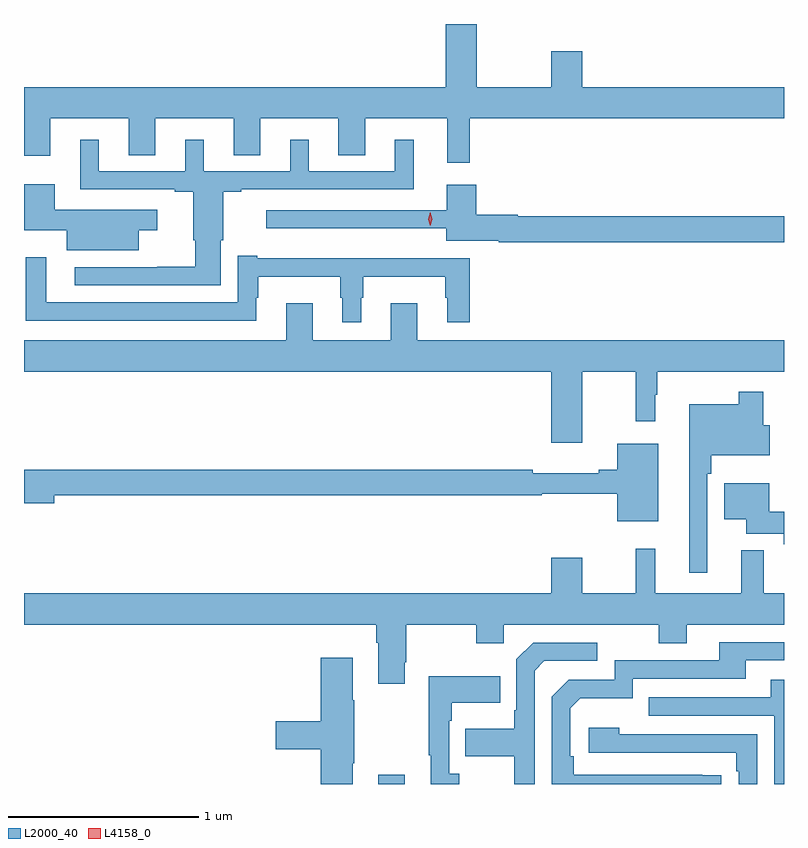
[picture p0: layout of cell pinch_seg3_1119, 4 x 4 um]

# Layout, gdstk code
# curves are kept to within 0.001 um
import gdstk
lib = gdstk.Library(unit=1e-6, precision=1e-09)
def R(c, l, rs):  # rectangles x0, y0, x1, y1
    for r in rs: c.add(gdstk.rectangle(r[:2], r[2:], *l))
def P(c, l, *ps):  # polygons
    for p in ps: c.add(gdstk.Polygon(p, *l))
L2000_40 = (2000, 40)
L4158_0 = (4158, 0)

pinch_seg3_1119 = lib.new_cell('pinch_seg3_1119')
R(pinch_seg3_1119, L2000_40, [(224.039,706.737,224.179,706.786)])
P(pinch_seg3_1119, L2000_40, [(224.519,710.24),(226.174,710.24),(226.174,710.404),(225.112,710.404),(225.112,710.593),(224.948,710.593),(224.948,710.404),(224.557,710.404),(224.557,710.737),(224.393,710.737),(224.393,710.404),(222.174,710.404),(222.174,710.043),(222.313,710.043),(222.313,710.24),(222.725,710.24),(222.725,710.047),(222.865,710.047),(222.865,710.24),(223.277,710.24),(223.277,710.047),(223.417,710.047),(223.417,710.24),(223.829,710.24),(223.829,710.047),(223.969,710.047),(223.969,710.24),(224.402,710.24),(224.402,710.007),(224.519,710.007)],
  [(223.21,709.599),(223.222,709.599),(223.222,709.854),(223.318,709.854),(223.318,709.866),(224.225,709.866),(224.225,710.128),(224.126,710.128),(224.126,709.962),(223.672,709.962),(223.672,710.128),(223.574,710.128),(223.574,709.962),(223.12,709.962),(223.12,710.128),(223.022,710.128),(223.022,709.962),(222.568,709.962),(222.568,710.128),(222.47,710.128),(222.47,709.866),(222.968,709.866),(222.968,709.854),(223.064,709.854),(223.064,709.599),(223.076,709.599),(223.076,709.46),(222.874,709.46),(222.874,709.458),(222.441,709.458),(222.441,709.362),(223.21,709.362)],
  [(222.778,709.652),(222.874,709.652),(222.874,709.759),(222.337,709.759),(222.337,709.894),(222.174,709.894),(222.174,709.652),(222.398,709.652),(222.398,709.547),(222.778,709.547)],
  [(226.174,709.724),(224.772,709.724),(224.772,709.732),(224.555,709.732),(224.555,709.891),(224.399,709.891),(224.399,709.758),(223.449,709.758),(223.449,709.661),(224.396,709.661),(224.396,709.595),(224.672,709.595),(224.672,709.588),(226.174,709.588)],
  [(223.948,709.295),(223.96,709.295),(223.96,709.406),(224.391,709.406),(224.391,709.295),(224.402,709.295),(224.402,709.167),(224.519,709.167),(224.519,709.504),(223.402,709.504),(223.402,709.516),(223.299,709.516),(223.299,709.272),(222.292,709.272),(222.292,709.51),(222.183,709.51),(222.183,709.176),(223.396,709.176),(223.396,709.295),(223.408,709.295),(223.408,709.406),(223.839,709.406),(223.839,709.295),(223.85,709.295),(223.85,709.167),(223.948,709.167)],
  [(224.948,708.534),(225.112,708.534),(225.112,708.908),(225.394,708.908),(225.394,708.645),(225.496,708.645),(225.496,708.785),(225.508,708.785),(225.508,708.908),(226.174,708.908),(226.174,709.072),(224.245,709.072),(224.245,709.267),(224.105,709.267),(224.105,709.072),(223.693,709.072),(223.693,709.267),(223.553,709.267),(223.553,709.072),(222.174,709.072),(222.174,708.908),(224.948,708.908)],
  [(225.771,708.371),(225.791,708.371),(225.791,708.467),(226.099,708.467),(226.099,708.625),(226.064,708.625),(226.064,708.802),(225.936,708.802),(225.936,708.736),(225.674,708.736),(225.674,707.85),(225.771,707.85)],
  [(225.511,708.529),(225.296,708.529),(225.296,708.392),(225.2,708.392),(225.2,708.373),(224.852,708.373),(224.852,708.392),(222.174,708.392),(222.174,708.214),(222.334,708.214),(222.334,708.256),(224.9,708.256),(224.9,708.264),(225.296,708.264),(225.296,708.119),(225.511,708.119)],
  [(226.174,708.171),(226.096,708.171),(226.096,708.319),(225.86,708.319),(225.86,708.131),(225.974,708.131),(225.974,708.053),(226.172,708.053),(226.172,707.999),(226.174,707.999)],
  [(224.179,707.377),(224.187,707.377),(224.187,707.576),(224.554,707.576),(224.554,707.477),(224.7,707.477),(224.7,707.576),(225.514,707.576),(225.514,707.477),(225.661,707.477),(225.661,707.576),(226.174,707.576),(226.174,707.74),(226.067,707.74),(226.067,707.968),(225.95,707.968),(225.95,707.74),(225.497,707.74),(225.497,707.974),(225.394,707.974),(225.394,707.74),(225.112,707.74),(225.112,707.929),(224.948,707.929),(224.948,707.74),(222.174,707.74),(222.174,707.576),(224.027,707.576),(224.027,707.48),(224.039,707.48),(224.039,707.265),(224.179,707.265)],
  [(225.845,706.784),(225.068,706.785),(225.068,706.882),(225.048,706.882),(225.048,707.136),(225.101,707.189),(225.378,707.189),(225.378,707.292),(225.973,707.292),(225.973,707.388),(226.174,707.388),(226.174,707.484),(225.833,707.484),(225.833,707.388),(225.282,707.388),(225.282,707.286),(225.042,707.286),(224.952,707.196),(224.952,706.737),(225.845,706.737)],
  [(224.862,707.334),(224.913,707.385),(225.19,707.385),(225.19,707.481),(224.853,707.481),(224.766,707.394),(224.766,707.125),(224.754,707.125),(224.754,707.029),(224.497,707.029),(224.497,706.882),(224.754,706.882),(224.754,706.737),(224.862,706.737)],
  [(223.903,706.846),(223.911,706.846),(223.911,707.177),(223.903,707.177),(223.903,707.401),(223.736,707.401),(223.736,707.066),(223.5,707.066),(223.5,706.919),(223.736,706.919),(223.736,706.737),(223.903,706.737)],
  [(224.464,706.79),(224.412,706.79),(224.412,707.069),(224.425,707.069),(224.425,707.165),(224.681,707.165),(224.681,707.305),(224.304,707.305),(224.304,706.889),(224.315,706.889),(224.315,706.737),(224.464,706.737)],
  [(226.174,707.287),(226.103,707.287),(226.103,707.193),(225.463,707.193),(225.463,707.097),(226.122,707.097),(226.122,706.737),(226.174,706.737)],
  [(226.032,706.998),(225.308,706.998),(225.308,707.032),(225.147,707.032),(225.147,706.902),(225.923,706.902),(225.923,706.805),(225.936,706.805),(225.936,706.737),(226.032,706.737)])
P(pinch_seg3_1119, L4158_0, [(224.312,709.674),(224.312,709.675),(224.302,709.71),(224.312,709.745),(224.313,709.745),(224.313,709.745),(224.322,709.71),(224.312,709.675)])

lib.write_gds('pinch_seg3_1119.gds')
